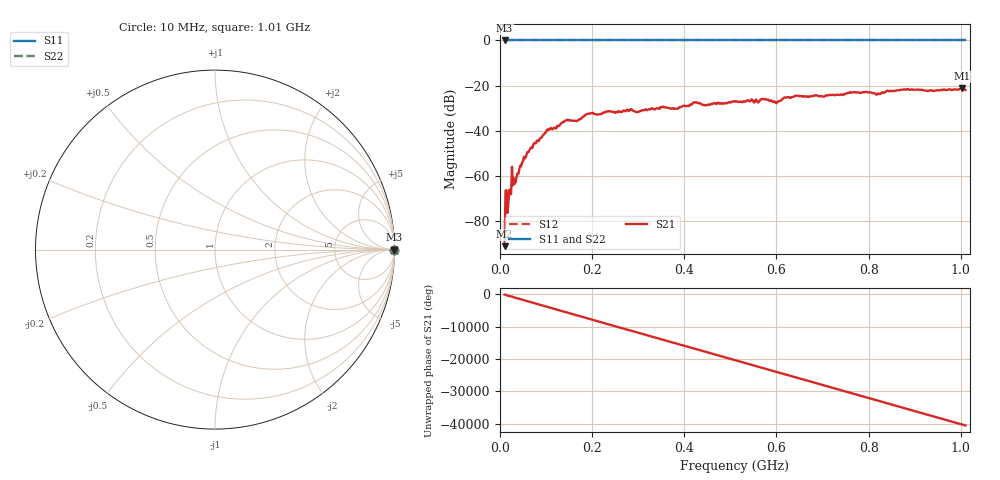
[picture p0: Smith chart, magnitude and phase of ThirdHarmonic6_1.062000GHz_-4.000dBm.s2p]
! 8/16/2025 9:31:11 AM
! C:\ANRITSUVNA\TEMP\TEMP.S2P
! CHANNEL.1
! TR.MEASUREMENT
! RAW.DATA
! RF.CORRECTION.OFF
! AVERAGING.OFF
! IF.BANDWIDTH: 5KHZ
! SWEEPTYPE:  FREQ.SWEEP(Linear)
! Reference Plane Port Info
! PORT:  PORT1  PORT2
! DISTANCE:  0  m  0  m
! TIME:  0  s  0  s
! PHASE.OFFSET:  0  deg.  0  deg.
! LOSS:  0  dB  0  dB
! REF.LOSS:  0  dB  0  dB
! REF.FREQ:  0  Hz  0  Hz
! Power Info
! POWER:  -20  dBm  -20  dBm
! EFF.POWER:  -20  dBm  -20  dBm
! SOURCE.ATTEN:  0  dB  0  dB
! TEST.ATTEN:  0  dB  0  dB
# GHZ S RI R 50.0
! FREQ.GHZ  S11RE  S11IM  S21RE  S21IM  S12RE  S12IM  S22RE  S22IM
!; PortSelection: Port_12
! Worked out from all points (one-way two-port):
!   501 points, 10 MHz to 1.01 GHz, reference 50 ohm
!   highest |S21| = -21.31 dB at 1.002 GHz (marker M1); lowest = -91.2 dB at 10 MHz (marker M2)
!   lowest |S11| = 0.0 dB at 10 MHz (marker M3)
!   |S11| at or under -10 dB: nowhere
!   |S22| runs from 0.0 to 0.0 dB; largest |S21 - S12| = 1.1
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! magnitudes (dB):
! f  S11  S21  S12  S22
! 10 MHz  0.0  -91.2  0.0  0.0
! 14 MHz  0.0  -66.4  0.0  0.0
! 16 MHz  0.0  -76.5  0.0  0.0
! 20 MHz  0.0  -66.2  0.0  0.0
! 22 MHz  0.0  -67.0  0.0  0.0
! 30 MHz  0.0  -61.1  0.0  0.0
! 32 MHz  0.0  -63.6  0.0  0.0
! 48 MHz  0.0  -54.0  0.0  0.0
! 76 MHz  0.0  -45.5  0.0  0.0
! 106 MHz  0.0  -39.6  0.0  0.0
! 144 MHz  0.0  -35.4  0.0  0.0
! 178 MHz  0.0  -34.1  0.0  0.0
! 198 MHz  0.0  -32.2  0.0  0.0
! 344 MHz  0.0  -30.2  0.0  0.0
! 510 MHz  0.0  -27.2  0.0  0.0
! 572 MHz  0.0  -26.1  0.0  0.0
! 602 MHz  0.0  -27.2  0.0  0.0
! 620 MHz  0.0  -25.4  0.0  0.0
! 678 MHz  0.0  -24.7  0.0  0.0
! 844 MHz  0.0  -22.5  0.0  0.0
! 1.002 GHz  0.0  -21.3  0.0  0.0
! 1.01 GHz  0.0  -22.0  0.0  0.0
